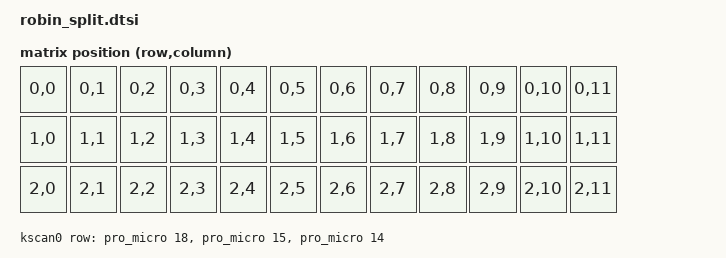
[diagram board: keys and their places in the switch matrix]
/*
 * Robin's 3x6+3 Split Keyboard
 * SPDX-License-Identifier: MIT
 */

#include <dt-bindings/zmk/matrix_transform.h>

/ {
    chosen {
        zmk,kscan = &kscan0;
        zmk,matrix-transform = &default_transform;
    };

    default_transform: keymap_transform_0 {
        compatible = "zmk,matrix-transform";
        columns = <12>;
        rows = <3>;
        // | L0  | L1  | L2  | L3  | L4  | L5  |   | R5  | R4  | R3  | R2  | R1  | R0  |
        // | L6  | L7  | L8  | L9  | L10 | L11 |   | R11 | R10 | R9  | R8  | R7  | R6  |
        // | L12 | L13 | L14 | L15 | L16 | L17 |   | R17 | R16 | R15 | R14 | R13 | R12 |
        //                   | L18 | L19 | L20 |   | R20 | R19 | R18 |
        map = <
            RC(0,0) RC(0,1) RC(0,2) RC(0,3) RC(0,4) RC(0,5)  RC(0,6) RC(0,7) RC(0,8) RC(0,9) RC(0,10) RC(0,11)
            RC(1,0) RC(1,1) RC(1,2) RC(1,3) RC(1,4) RC(1,5)  RC(1,6) RC(1,7) RC(1,8) RC(1,9) RC(1,10) RC(1,11)
            RC(2,0) RC(2,1) RC(2,2) RC(2,3) RC(2,4) RC(2,5)  RC(2,6) RC(2,7) RC(2,8) RC(2,9) RC(2,10) RC(2,11)
        >;
    };

    kscan0: kscan {
        compatible = "zmk,kscan-gpio-matrix";
        wakeup-source;
        diode-direction = "col2row";
        
        // Row pins (3 rows)
        // P1.15 = pro_micro 18
        // P1.13 = pro_micro 15  
        // P1.11 = pro_micro 14
        row-gpios
            = <&pro_micro 18 (GPIO_ACTIVE_HIGH | GPIO_PULL_DOWN)>
            , <&pro_micro 15 (GPIO_ACTIVE_HIGH | GPIO_PULL_DOWN)>
            , <&pro_micro 14 (GPIO_ACTIVE_HIGH | GPIO_PULL_DOWN)>
            ;
    };
};
